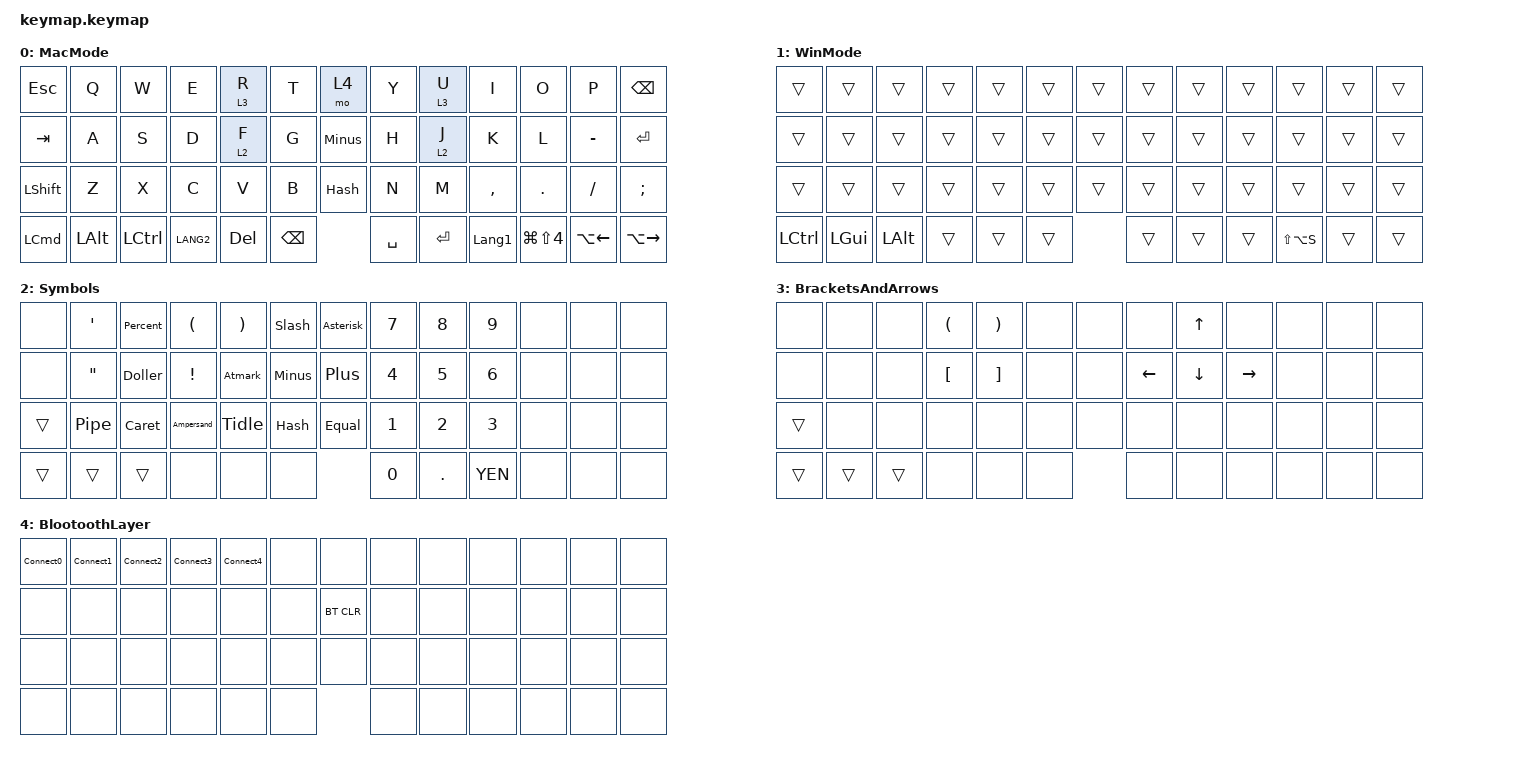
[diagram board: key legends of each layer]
#include <behaviors.dtsi>
#include <dt-bindings/zmk/bt.h>
#include <dt-bindings/zmk/keys.h>

/ {
    macros {
        Connect0: Connect0 {
            compatible = "zmk,behavior-macro";
            #binding-cells = <0>;
            bindings = <&bt BT_SEL 0 &to 0>;
            label = "CONNECT0";
            wait-ms = <10>;
        };

        Connect1: Connect1 {
            compatible = "zmk,behavior-macro";
            #binding-cells = <0>;
            bindings = <&bt BT_SEL 1 &to 1>;
            label = "CONNECT1";
            wait-ms = <10>;
        };

        Connect2: Connect2 {
            compatible = "zmk,behavior-macro";
            #binding-cells = <0>;
            bindings = <&bt BT_SEL 2 &to 0>;
            label = "CONNECT2";
            wait-ms = <10>;
        };

        Connect3: Connect3 {
            compatible = "zmk,behavior-macro";
            #binding-cells = <0>;
            bindings = <&bt BT_SEL 3 &to 1>;
            label = "CONNECT3";
            wait-ms = <10>;
        };

        Connect4: Connect4 {
            compatible = "zmk,behavior-macro";
            #binding-cells = <0>;
            bindings = <&bt BT_SEL 4 &to 0>;
            label = "CONNECT4";
            wait-ms = <10>;
        };

        Atmark: Atmark {
            compatible = "zmk,behavior-macro";
            #binding-cells = <0>;
            bindings = <&kp LANGUAGE_2 &kp AT>;
            label = "ATMARK";
            wait-ms = <1>;
        };

        Tidle: Tidle {
            compatible = "zmk,behavior-macro";
            #binding-cells = <0>;
            bindings = <&kp LANGUAGE_2 &kp TILDE>;
            label = "TIDLE";
            wait-ms = <1>;
        };

        YEN: YEN {
            compatible = "zmk,behavior-macro";
            #binding-cells = <0>;
            bindings = <&kp LANGUAGE_2 &kp INT_YEN>;
            label = "YEN";
            wait-ms = <1>;
        };

        Ampersand: Ampersand {
            compatible = "zmk,behavior-macro";
            #binding-cells = <0>;
            bindings = <&kp LANGUAGE_2 &kp AMPERSAND>;
            label = "AMPERSAND";
            wait-ms = <1>;
        };

        Slash: Slash {
            compatible = "zmk,behavior-macro";
            #binding-cells = <0>;
            bindings = <&kp LANGUAGE_2 &kp SLASH>;
            label = "SLASH";
            wait-ms = <1>;
        };

        Asterisk: Asterisk {
            compatible = "zmk,behavior-macro";
            #binding-cells = <0>;
            bindings = <&kp LANGUAGE_2 &kp ASTERISK>;
            label = "ASTERISK";
            wait-ms = <1>;
        };

        Minus: Minus {
            compatible = "zmk,behavior-macro";
            #binding-cells = <0>;
            bindings = <&kp LANGUAGE_2 &kp MINUS>;
            label = "MINUS";
            wait-ms = <1>;
        };

        Plus: Plus {
            compatible = "zmk,behavior-macro";
            #binding-cells = <0>;
            bindings = <&kp LANGUAGE_2 &kp PLUS>;
            label = "PLUS";
            wait-ms = <1>;
        };

        Hash: Hash {
            compatible = "zmk,behavior-macro";
            #binding-cells = <0>;
            bindings = <&kp LANGUAGE_2 &kp HASH>;
            label = "HASH";
            wait-ms = <1>;
        };

        Equal: Equal {
            compatible = "zmk,behavior-macro";
            #binding-cells = <0>;
            bindings = <&kp LANGUAGE_2 &kp EQUAL>;
            label = "EQUAL";
            wait-ms = <1>;
        };

        Percent: Percent {
            compatible = "zmk,behavior-macro";
            #binding-cells = <0>;
            bindings = <&kp LANGUAGE_2 &kp PERCENT>;
            label = "PERCENT";
            wait-ms = <1>;
        };

        Doller: Doller {
            compatible = "zmk,behavior-macro";
            #binding-cells = <0>;
            bindings = <&kp LANGUAGE_2 &kp DOLLAR>;
            label = "DOLLER";
            wait-ms = <1>;
        };

        Caret: Caret {
            compatible = "zmk,behavior-macro";
            #binding-cells = <0>;
            bindings = <&kp LANGUAGE_2 &kp CARET>;
            label = "CARET";
            wait-ms = <1>;
        };

        Pipe: Pipe {
            compatible = "zmk,behavior-macro";
            #binding-cells = <0>;
            bindings = <&kp LANGUAGE_2 &kp PIPE>;
            label = "PIPE";
            wait-ms = <1>;
        };

        ZenKakko: kakko {
            compatible = "zmk,behavior-macro";
            #binding-cells = <0>;
            bindings = <&kp LANGUAGE_1 &kp LEFT_PARENTHESIS &kp RIGHT_PARENTHESIS &kp ENTER &kp LEFT>;
            label = "KAKKO";
        };

        KagiKakko: KagiKakko {
            compatible = "zmk,behavior-macro";
            #binding-cells = <0>;
            bindings = <&kp LANGUAGE_1 &kp LEFT_BRACKET &kp RIGHT_BRACKET &kp ENTER &kp LEFT_ARROW>;
            label = "KAGIKAKKO";
        };
    };

    combos {
        compatible = "zmk,combos";

        ZenKakko {
            bindings = <&ZenKakko>;
            key-positions = <3 4>;
            layers = <3 2>;
        };

        KagiKakko {
            bindings = <&KagiKakko>;
            key-positions = <16 17>;
            layers = <3 2>;
        };
    };

    keymap {
        compatible = "zmk,keymap";

        MacMode {
            bindings = <
&kp ESCAPE        &kp Q         &kp W             &kp E      &lt 3 R  &kp T          &mo 4   &kp Y      &lt 3 U    &kp I           &kp O                 &kp P               &kp BACKSPACE
&kp TAB           &kp A         &kp S             &kp D      &lt 2 F  &kp G          &Minus  &kp H      &lt 2 J    &kp K           &kp L                 &kp MINUS           &kp ENTER
&kp LEFT_SHIFT    &kp Z         &kp X             &kp C      &kp V    &kp B          &Hash   &kp N      &kp M      &kp COMMA       &kp PERIOD            &kp SLASH           &kp SEMICOLON
&kp LEFT_COMMAND  &kp LEFT_ALT  &kp LEFT_CONTROL  &kp LANG2  &kp DEL  &kp BACKSPACE          &kp SPACE  &kp ENTER  &kp LANGUAGE_1  &kp LG(LS(NUMBER_4))  &kp LA(LEFT_ARROW)  &kp LA(RIGHT_ARROW)
            >;
        };

        WinMode {
            bindings = <
&trans            &trans        &trans        &trans  &trans  &trans  &trans  &trans  &trans  &trans  &trans         &trans  &trans
&trans            &trans        &trans        &trans  &trans  &trans  &trans  &trans  &trans  &trans  &trans         &trans  &trans
&trans            &trans        &trans        &trans  &trans  &trans  &trans  &trans  &trans  &trans  &trans         &trans  &trans
&kp LEFT_CONTROL  &kp LEFT_GUI  &kp LEFT_ALT  &trans  &trans  &trans          &trans  &trans  &trans  &kp LS(LA(S))  &trans  &trans
            >;
        };

        Symbols {
            bindings = <
&none   &kp SQT            &Percent  &kp LEFT_PARENTHESIS  &kp RIGHT_PARENTHESIS  &Slash  &Asterisk  &kp NUMBER_7  &kp NUMBER_8  &kp NUMBER_9  &none  &none  &none
&none   &kp DOUBLE_QUOTES  &Doller   &kp EXCLAMATION       &Atmark                &Minus  &Plus      &kp NUMBER_4  &kp NUMBER_5  &kp NUMBER_6  &none  &none  &none
&trans  &Pipe              &Caret    &Ampersand            &Tidle                 &Hash   &Equal     &kp NUMBER_1  &kp NUMBER_2  &kp NUMBER_3  &none  &none  &none
&trans  &trans             &trans    &none                 &none                  &none              &kp NUMBER_0  &kp DOT       &YEN          &none  &none  &none
            >;
        };

        BracketsAndArrows {
            bindings = <
&none   &none   &none   &kp LEFT_PARENTHESIS  &kp RIGHT_PARENTHESIS  &none  &none  &none           &kp UP_ARROW    &none            &none  &none  &none
&none   &none   &none   &kp LEFT_BRACKET      &kp RIGHT_BRACKET      &none  &none  &kp LEFT_ARROW  &kp DOWN_ARROW  &kp RIGHT_ARROW  &none  &none  &none
&trans  &none   &none   &none                 &none                  &none  &none  &none           &none           &none            &none  &none  &none
&trans  &trans  &trans  &none                 &none                  &none         &none           &none           &none            &none  &none  &none
            >;
        };

        BlootoothLayer {
            bindings = <
&Connect0  &Connect1  &Connect2  &Connect3  &Connect4  &none  &none       &none  &none  &none  &none  &none  &none
&none      &none      &none      &none      &none      &none  &bt BT_CLR  &none  &none  &none  &none  &none  &none
&none      &none      &none      &none      &none      &none  &none       &none  &none  &none  &none  &none  &none
&none      &none      &none      &none      &none      &none              &none  &none  &none  &none  &none  &none
            >;
        };
    };
};
